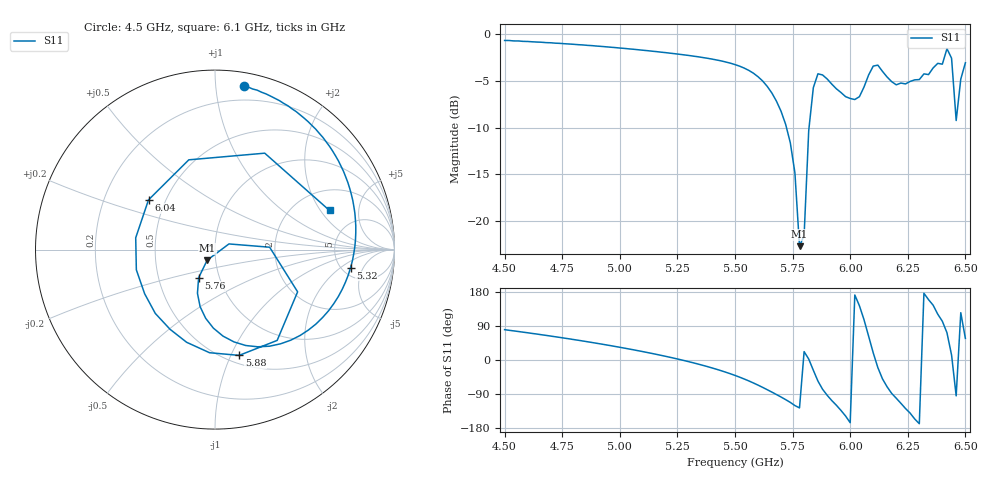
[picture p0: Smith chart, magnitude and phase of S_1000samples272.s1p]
! TOUCHSTONE file generated by CST MICROWAVE STUDIO
! Date and time: Thu Oct 27 14:26:07 2022
! Project name: L.cst
! Parameters = {Di=1.27; Epsilon_r=1.56; InnerDiameter=1.27; Length=2; Lf=10; Lg=60; OuterConductorThickness=0.2921; OuterDiameter=3.6; Wf=3; Wp=41.2; de=1.5; df=6.8; g=0.8; gx=1.95441; gy=2.7219; h=2.34; hf=1.524; px=10.2214; py=14.443; w=9.7; wx=8.267; wy=11.7211}
! Header version: 2018
! Port assignment regex: !\s*Touchstone port\s*([0-9]+)\s*=\s*(CST MWS port|CST DS port)\s*([0-9]+|Zmin|Zmax)\s*\(\"(.*)\"\)(\s*mode\s*([0-9]+))?.*
! Touchstone port assignment:
! Touchstone port 1 = CST MWS port 1 ("")
# GHz S DB R 50
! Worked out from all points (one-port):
!   101 points, 4.5 GHz to 6.5 GHz, reference 50 ohm
!   lowest |S11| = -22.7 dB at 5.78 GHz (marker M1), VSWR 1.16, Z = 45.5 - j5.41 ohm
!   |S11| at or under -10 dB: 5.723 GHz to 5.821 GHz (98 MHz wide, 1.7 % of centre)
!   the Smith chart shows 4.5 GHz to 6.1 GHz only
!   S11 on the Smith chart (normalised r, x): 4.5 GHz: 0.09, +1.19; 5.32 GHz: 5.99, -2.88; 5.76 GHz: 0.80, -0.26; 5.88 GHz: 0.58, -1.08; 6.04 GHz: 0.40, +0.28; 6.1 GHz: 3.05, +2.44
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4.5  -0.68 80.1
4.76  -1.03 57.7
5  -1.49 33.6
5.26  -2.16 1.3
5.32  -2.36 -7.6
5.5  -3.26 -40.7
5.64  -5.60 -78.4
5.76  -14.83 -120.2
5.78  -22.69 -126.4
5.8  -21.52 22.1
5.82  -10.32 2.5
5.84  -5.73 -27.1
5.88  -4.37 -77.1
6  -6.89 -165.6
6.04  -6.70 143.2
6.08  -4.37 62.7
6.1  -3.42 18.9
6.12  -3.32 -20.0
6.16  -4.59 -70.7
6.26  -5.06 -140.1
6.32  -4.26 176.1
6.36  -3.62 144.6
6.4  -3.22 102.2
6.42  -1.56 72.0
6.44  -2.58 13.1
6.46  -9.25 -94.7
6.48  -4.82 124.8
6.5  -3.07 56.9
